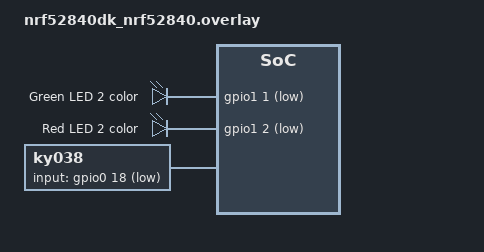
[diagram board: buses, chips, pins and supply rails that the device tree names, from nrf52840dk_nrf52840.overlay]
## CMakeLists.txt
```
# SPDX-License-Identifier: Apache-2.0

cmake_minimum_required(VERSION 3.20.0)
find_package(Zephyr REQUIRED HINTS $ENV{ZEPHYR_BASE})
project(MPP)

add_subdirectory("GPIOs")
add_subdirectory("Embedded_C_Design_Patterns")
add_subdirectory("i2c")
add_subdirectory("Generic_Declarations")
add_subdirectory("Bit_Manipulation")
add_subdirectory("Embedded_C_DSA")
add_subdirectory("SPI")


target_sources(app PRIVATE src/main.c)
```

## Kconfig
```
rsource "GPIOs/GPIOs.Kconfig"
rsource "Embedded_C_Design_Patterns/Design_Patterns.Kconfig"
rsource "i2C/i2C.Kconfig"
rsource "SPI/SPI.Kconfig"

source "kconfig.zephyr"	
```

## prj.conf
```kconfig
CONFIG_INTG_LED2COLOR=n
CONFIG_CONSOLE=y
CONFIG_RTT_CONSOLE=y
CONFIG_USE_SEGGER_RTT=y
CONFIG_PRINTK=y
CONFIG_LOG=y
CONFIG_LOG_DEFAULT_LEVEL=4
CONFIG_SINGLETON=y
CONFIG_CBPRINTF_FP_SUPPORT=y

CONFIG_SENSOR=y

#Enable MCP9808_MPP
CONFIG_I2C=y
CONFIG_MCP9808_MPP=y

#Enable Sensor Clap
CONFIG_KY038_SENSOR=y
```

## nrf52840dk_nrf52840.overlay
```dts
// To get started, press Ctrl+Space to bring up the completion menu and view the available nodes.

// You can also use the buttons in the sidebar to perform actions on nodes.
// Actions currently available include:

// * Enabling / disabling the node
// * Adding the bus to a bus
// * Removing the node
// * Connecting ADC channels

// For more help, browse the DeviceTree documentation at https://docs.zephyrproject.org/latest/guides/dts/index.html
// You can also visit the nRF DeviceTree extension documentation at https://nrfconnect.github.io/vscode-nrf-connect/devicetree/nrfdevicetree.html

/ {

     aliases {
             greenled2clr = &greenled2clr;
             redled2clr = &redled2clr;
     };

     led2clr {
		compatible = "gpio-leds";
		greenled2clr: led2clr_green {
			gpios = <&gpio1 1 GPIO_ACTIVE_LOW>;
			label = "Green LED 2 color";
		};
		redled2clr: led2clr_red {
			gpios = <&gpio1 2 GPIO_ACTIVE_LOW>;
			label = "Red LED 2 color";
		};
	};

    ky038 {
        compatible = "zephyr,ky038";
		status = "okay";
        input-gpios = <&gpio0 18 (GPIO_PULL_UP | GPIO_ACTIVE_LOW)>;  // Use a free GPIO pin
		ky038;
    };

};
```

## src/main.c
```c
/*
 * Copyright (c) 2016 Intel Corporation
 *
 * SPDX-License-Identifier: Apache-2.0
 */
// #include <mcp9808.h>
#include <zephyr/kernel.h>
#include <zephyr/device.h>
#include <zephyr/drivers/sensor.h>
#include <stdio.h>

int main(void)
{
	// bool is_init = mcp9808_Init();
	// float calculated_Temp = mcp9808_Read_Temperature();
    const struct device *const ky038 = DEVICE_DT_GET_ONE(zephyr_ky038);

	if (!device_is_ready(ky038)) {
		printf("Device %s is not ready\n", ky038->name);
		return 0;
	}

    	while (true) {
		int rc = sensor_sample_fetch(ky038);

		if (rc != 0) {
			printf("Sensor fetch failed: %d\n", rc);
			break;
		}
        }
	return 0;
}
```
